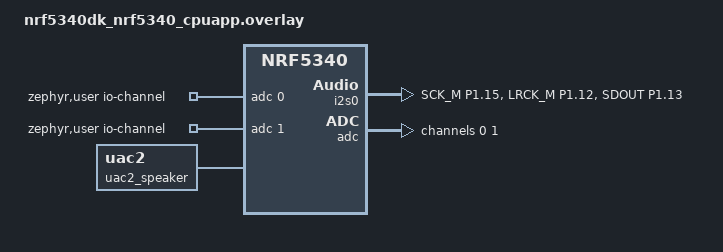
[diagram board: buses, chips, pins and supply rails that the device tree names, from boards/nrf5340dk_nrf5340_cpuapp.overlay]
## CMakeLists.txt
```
cmake_minimum_required(VERSION 3.20.0)
find_package(Zephyr REQUIRED HINTS $ENV{ZEPHYR_BASE})
project(haiku_runner)

target_include_directories(app PRIVATE include)

target_sources(app PRIVATE
  src/main.c
  src/audio/audio_router.c
  src/audio/audio_pipeline_zephyr.c
  src/audio/volume_control.c
  src/input/input_frame_ingress.c
  src/input/input_registry.c
  src/input/source_manager.c
  src/app_state.c
)

if(CONFIG_HR_BACKEND_I2S)
  target_sources(app PRIVATE src/audio/audio_backend_i2s.c)
else()
  target_sources(app PRIVATE src/audio/audio_backend_stub.c)
endif()

if(CONFIG_HR_PIPELINE_SOF)
  target_sources(app PRIVATE src/audio/audio_pipeline_sof_adapter.c)
endif()

if(CONFIG_HR_INPUT_BLE)
  target_sources(app PRIVATE
    src/ble/le_audio_sink.c
    src/ble/le_audio_events.c
    src/ble/le_audio_bap_sink.c
  )
endif()

if(CONFIG_HR_INPUT_AUX)
  target_sources(app PRIVATE src/input/input_aux_jack.c)
endif()

if(CONFIG_HR_INPUT_USB)
  target_sources(app PRIVATE src/input/input_usb_uac.c)
  if(CONFIG_HR_INPUT_USB_UAC2)
    target_sources(app PRIVATE src/input/input_usb_uac2.c)
  endif()
  if(CONFIG_HR_INPUT_USB_MOCK_FEEDER)
    target_sources(app PRIVATE src/input/input_usb_mock_feeder.c)
  endif()
endif()

if(CONFIG_HR_UI_SOURCE_CONTROL)
  target_sources(app PRIVATE src/ui/source_control.c)
endif()

if(CONFIG_HR_UI_AUDIO_CUE)
  target_sources(app PRIVATE src/audio/audio_cue.c)
endif()

if(CONFIG_HR_INPUT_WIFI)
  target_sources(app PRIVATE src/input/input_wifi_stream.c)
endif()
```

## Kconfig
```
source "Kconfig.zephyr"

menu "Haiku Runner"

config HR_SOURCE_MANAGER_MAX_INPUTS
  int "Maximum registered inputs"
  default 8
  range 1 16

rsource "Kconfig.inputs"
rsource "Kconfig.audio"
rsource "Kconfig.ui"

endmenu
```

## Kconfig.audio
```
menu "Audio Output"

config HR_BACKEND_STUB
  bool "Enable stub backend"
  default y

config HR_BACKEND_I2S
  bool "Enable I2S output backend"
  select I2S
  default n
  help
    Drives audio frames from the pipeline out over I2S (e.g. to a MAX98357A).
    Selects the I2S driver, which the backend needs unconditionally: both
    audio_backend_init() and audio_backend_write() talk to the peripheral,
    not just the optional self-test melody below.

if HR_BACKEND_I2S

config HR_BACKEND_I2S_TEST_TONE
  bool "Play a self-test melody on I2S backend start"
  default n
  help
    Writes a short synthesized melody ("Jingle Bells" opening verse) directly
    to the I2S peripheral when the backend starts, independent of any input
    source or pipeline frames. Use this to verify board-to-amp wiring (e.g.
    MAX98357A) before relying on the full audio pipeline.

endif # HR_BACKEND_I2S

config HR_PIPELINE_SOF
  bool "Use SOF pipeline adapter"
  default n

choice HR_DEFAULT_INPUT
  prompt "Default selected input"
  default HR_DEFAULT_INPUT_BLE

config HR_DEFAULT_INPUT_BLE
  bool "BLE"

config HR_DEFAULT_INPUT_AUX
  bool "AUX"

config HR_DEFAULT_INPUT_USB
  bool "USB"

config HR_DEFAULT_INPUT_WIFI
  bool "Wi-Fi"

endchoice

endmenu
```

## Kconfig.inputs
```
menu "Input Sources"

config HR_INPUT_BLE
  bool "Enable BLE input adapter"
  default y
  select BT
  select BT_PERIPHERAL
  select BT_EXT_ADV
  select BT_AUDIO
  select BT_BAP_UNICAST_SERVER
  select BT_ASCS
  select BT_PAC_SNK
  select BT_ISO_PERIPHERAL
  select BT_CAP_ACCEPTOR
  select BT_VCP_VOL_REND
  select BT_TMAP
  select LIBLC3
  select FPU
  help
    Registers the BLE input adapter, backed by a Bluetooth LE Audio (BAP)
    unicast sink: a phone or other LE Audio source connects and streams
    LC3-encoded audio directly to this device, like a standard BLE speaker.
    Pulls in the Bluetooth stack and LC3 codec.

    CAP Acceptor (CAS) and VCP Volume Renderer (VCS) are not optional
    extras here: per the spec, the Unicast Media Receiver role a phone
    looks for is BT_CAP_ACCEPTOR && ASE_SNK > 0 && BT_VCP_VOL_REND (see
    BT_TMAP_UMR_SUPPORTED). Without them a phone connects at GATT level
    but never offers the device as a media output.

config HR_INPUT_AUX
  bool "Enable AUX jack input adapter"
  select ADC
  select ADC_ASYNC
  default n
  help
    Samples a line-level analog signal from a 3.5 mm jack with the SAADC and
    feeds it into the audio pipeline. Requires an external bias/anti-alias
    front-end (audio is AC-coupled and bipolar; the SAADC needs a positive
    voltage centred in its range) - see the wiring guide in
    docs-site/content/test-hardware/aux-jack-wiring.md.

if HR_INPUT_AUX

config HR_INPUT_AUX_SAMPLE_INTERVAL_US
  int "AUX sampling interval (microseconds)"
  default 21
  range 1 128
  help
    Sample rate is 1000000 / interval, so this cannot express every rate.
    21 us gives 47619 Hz, the closest achievable to 48 kHz.

    The I2S output clock is derived from the 12.288 MHz audio clock and can
    only produce 48000/32000/24000/16000/12000/8000 Hz. Of those, only 8000 Hz
    (interval 125) is also exactly representable here, so at any other setting
    the capture and playback clocks differ slightly: 47619 Hz in against
    48000 Hz out is a 0.8% pitch error plus slow buffer drift. Set 125 for a
    drift-free (but 4 kHz bandwidth) path, or add a resampler to fix it
    properly.

    Must stay <= 128 to use the SAADC hardware timer; above that the driver
    falls back to a kernel timer, whose jitter is not acceptable for audio.

config HR_INPUT_AUX_CHANNELS
  int "AUX channels (1 = mono/left, 2 = stereo)"
  default 1
  range 1 2
  help
    Keep this at 1. Zephyr's nRF SAADC driver only uses the hardware sampling
    timer when exactly one channel is active (see the active_channel_cnt == 1
    condition in adc_nrfx_saadc.c); with two channels it falls back to pacing
    samples from a kernel timer, which cannot run at audio intervals and makes
    adc_read() fail outright.

    Mono costs nothing here in practice: the MAX98357A output stage is mono,
    so the second channel would be summed or discarded anyway.

config HR_INPUT_AUX_FRAME_SAMPLES
  int "Samples per channel per delivered frame"
  default 480
  range 32 480
  help
    480 samples at ~48 kHz is a 10 ms frame, matching the block geometry the
    I2S backend uses for the BLE and USB paths. The upper bound is not just
    that alignment: the I2S backend's block size is fixed at 480 samples
    (AUDIO_BLOCK_SAMPLES in audio_backend_i2s.c), and it rejects with
    -ENOTSUP any frame bigger than that, so a value above 480 here would
    compile fine and then silently drop every AUX frame at runtime.

config HR_INPUT_AUX_ADC_RESOLUTION
  int "SAADC resolution (bits)"
  default 12
  range 8 14

config HR_INPUT_AUX_SIGNAL_THRESHOLD
  int "Peak amplitude (16-bit) that counts as signal present"
  default 300
  range 0 32767
  help
    The adapter reports itself unhealthy while the input is silent, so
    source_manager's auto-fallback does not sit on a disconnected jack.
    Raise this if front-end noise keeps it stuck healthy.

config HR_INPUT_AUX_SILENCE_FRAMES
  int "Consecutive silent frames before reporting unhealthy"
  default 200

config HR_INPUT_AUX_STACK_SIZE
  int "AUX sampling thread stack size"
  default 2048
  range 1024 8192

config HR_INPUT_AUX_THREAD_PRIORITY
  int "AUX sampling thread priority"
  default 5

endif # HR_INPUT_AUX

config HR_INPUT_USB
  bool "Enable USB Audio Class input adapter"
  default n

if HR_INPUT_USB

config HR_INPUT_USB_UAC2
  bool "Enumerate as a USB Audio Class 2 device"
  default y
  select USB_DEVICE_STACK_NEXT
  select USBD_AUDIO2_CLASS
  help
    Implements a real USB Audio Class 2 playback device, so a host (a phone
    in USB OTG mode, or a PC) sees the board as a USB sound card and can
    stream to it with no drivers, no app and no pairing. Requires the
    "zephyr,uac2" node in the board overlay and the nRF USB connector (not
    the debug/J-Link one). Disable to use the mock feeder instead.

config HR_INPUT_USB_RING_BUFFER_BYTES
  int "USB PCM ring buffer size (bytes)"
  default 8192
  range 512 65536

config HR_INPUT_USB_FRAME_BYTES
  int "USB poll frame size (bytes)"
  default 240
  range 48 2048

config HR_INPUT_USB_SAMPLE_RATE_HZ
  int "USB PCM sample rate"
  default 48000

config HR_INPUT_USB_CHANNELS
  int "USB PCM channels"
  default 2
  range 1 8

config HR_INPUT_USB_BITS_PER_SAMPLE
  int "USB PCM bits per sample"
  default 16
  range 8 32

config HR_INPUT_USB_MOCK_FEEDER
  bool "Enable mock USB PCM feeder thread"
  default n

if HR_INPUT_USB_MOCK_FEEDER

config HR_INPUT_USB_MOCK_INTERVAL_MS
  int "Mock feeder interval (ms)"
  default 10
  range 1 1000

config HR_INPUT_USB_MOCK_CHUNK_BYTES
  int "Mock feeder bytes per interval"
  default 240
  range 48 2048

config HR_INPUT_USB_MOCK_STACK_SIZE
  int "Mock feeder thread stack size"
  default 1024
  range 512 4096

endif

endif

config HR_INPUT_WIFI
  bool "Enable Wi-Fi streaming input adapter"
  default n

config HR_SWITCH_ALLOW_AUTO_FALLBACK
  bool "Allow auto fallback when active source is unhealthy"
  default y

endmenu
```

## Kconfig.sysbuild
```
# Sysbuild root for haiku-runner. Having this file present makes it the
# sysbuild Kconfig root instead of Zephyr's default, so it must re-source
# the default tree and layer nRF5340 net-core image controls on top.
source "share/sysbuild/Kconfig"

config NET_CORE_BOARD
	string
	default "nrf5340dk/nrf5340/cpunet" if "$(BOARD)" = "nrf5340dk"

config NET_CORE_IMAGE_HCI_IPC
	bool "HCI IPC image on network core"
	default y
	depends on NET_CORE_BOARD != ""
	help
	  Builds Zephyr's hci_ipc sample for the nRF5340 network core, giving
	  the application core's Bluetooth host a controller to talk to over
	  IPC. Required for the BLE Audio (LE Audio unicast sink) input.
```

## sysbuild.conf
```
# Reserved for nRF53 multi-image controls.
# Keep this minimal for upstream Zephyr compatibility.
```

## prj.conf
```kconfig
CONFIG_LOG=y
CONFIG_LOG_DEFAULT_LEVEL=3
CONFIG_MAIN_STACK_SIZE=4096

CONFIG_HEAP_MEM_POOL_SIZE=8192

# BLE Audio (LE Audio unicast sink). Inert unless CONFIG_HR_INPUT_BLE
# selects the Bluetooth options these depend on (see Kconfig.inputs).
CONFIG_BT_DEVICE_NAME="Haiku Runner"
# 0x0841 - Audio Sink / Standalone Speaker, so a phone classifies and shows
# this as a speaker rather than a generic BLE peripheral.
CONFIG_BT_DEVICE_APPEARANCE=2113
CONFIG_BT_SMP=y
CONFIG_BT_KEYS_OVERWRITE_OLDEST=y

# Persistent bonds. Without these, bonds live in RAM only, which breaks the
# pairing lifecycle a phone expects: a reboot silently invalidates the key the
# phone stored, and Android only sets up LE Audio on a properly bonded device.
CONFIG_BT_SETTINGS=y
CONFIG_SETTINGS=y
CONFIG_FLASH=y
CONFIG_FLASH_MAP=y
CONFIG_NVS=y
CONFIG_SETTINGS_NVS=y

# We pair Just Works (no IO capabilities), so bonds are unauthenticated. With
# this disabled (the default), a peer that forgets us and re-pairs is rejected
# because the old bond still exists, which Android surfaces as "incorrect PIN".
CONFIG_BT_SMP_ALLOW_UNAUTH_OVERWRITE=y
CONFIG_BT_GATT_DYNAMIC_DB=y
CONFIG_UTF8=y
CONFIG_BT_GAP_AUTO_UPDATE_CONN_PARAMS=n
CONFIG_BT_PERIPHERAL_PREF_MIN_INT=50
CONFIG_BT_PERIPHERAL_PREF_MAX_INT=70
CONFIG_BT_PERIPHERAL_PREF_LATENCY=0
CONFIG_BT_PERIPHERAL_PREF_TIMEOUT=400
CONFIG_BT_ASCS_MAX_ASE_SNK_COUNT=1
CONFIG_BT_ASCS_MAX_ASE_SRC_COUNT=0
CONFIG_BT_ISO_MAX_CHAN=1
CONFIG_BT_AUDIO_CODEC_CFG_MAX_METADATA_SIZE=10
CONFIG_BT_ATT_PREPARE_COUNT=2

# LC3 decode runs in the BT RX thread; it needs a larger stack and FPU.
CONFIG_BT_RX_STACK_SIZE=4096
CONFIG_BT_BUF_EVT_RX_SIZE=255
CONFIG_BT_BUF_ACL_RX_SIZE=255
CONFIG_BT_BUF_ACL_TX_SIZE=251
CONFIG_BT_BUF_CMD_TX_SIZE=255
```

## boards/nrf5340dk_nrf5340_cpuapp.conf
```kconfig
# Board specific defaults.
```

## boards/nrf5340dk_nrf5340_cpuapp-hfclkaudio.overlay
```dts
/* Only applied when the checked-out Zephyr's devicetree actually defines
 * the hfclkaudio node label (see the detection in ../sysbuild.cmake).
 *
 * That node - and the clock_control_nrf_hfclkaudio driver that reads it -
 * arrived in Zephyr shortly after v4.4.2, which this project pins for CI.
 * A pinned v4.4.2 checkout has no such label, and referencing it there is a
 * devicetree parse error, not just a no-op - so it cannot live in the main
 * overlay unconditionally. But on a newer Zephyr the split clock_control_nrf
 * drivers select CLOCK_CONTROL_NRF_HFCLKAUDIO, which reads this node's
 * hfclkaudio-frequency property instead of the legacy &clock property the
 * main overlay sets, so without this fragment I2S's ACLK clock source
 * BUILD_ASSERT fails there.
 */
&hfclkaudio {
  hfclkaudio-frequency = <12288000>;
};
```

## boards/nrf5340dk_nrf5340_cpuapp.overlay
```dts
#include <zephyr/dt-bindings/adc/adc.h>
#include <zephyr/dt-bindings/adc/nrf-saadc.h>
#include <zephyr/dt-bindings/usb/audio.h>

/ {
  chosen {
    zephyr,console = &uart0;
  };

  aliases {
    i2s-tx = &i2s0;
  };

  /* AUX jack capture channels, in order: left, right.
   * A0 = P0.04 = AIN0, A1 = P0.05 = AIN1 on the nRF5340 DK analog header.
   * Both expect a biased, filtered line-level signal - see
   * docs-site/content/test-hardware/aux-jack-wiring.md. */
  zephyr,user {
    io-channels = <&adc 0>, <&adc 1>;
  };

  /* USB Audio Class 2 playback device: the board enumerates as a USB sound
   * card, so any host (phone in OTG mode, PC) can stream to it with no
   * drivers and no pairing. Speaker only - no capture terminal, since this
   * device has no microphone. Modeled on Zephyr's
   * samples/subsys/usb/uac2_explicit_feedback. */
  uac2_speaker: usb_audio2 {
    compatible = "zephyr,uac2";
    status = "okay";
    full-speed;
    audio-function = <AUDIO_FUNCTION_OTHER>;

    uac_aclk: aclk {
      compatible = "zephyr,uac2-clock-source";
      clock-type = "internal-programmable";
      frequency-control = "host-programmable";
      sampling-frequencies = <48000>;
    };

    usb_stream_in: out_terminal {
      compatible = "zephyr,uac2-input-terminal";
      clock-source = <&uac_aclk>;
      terminal-type = <USB_TERMINAL_STREAMING>;
      front-left;
      front-right;
    };

    speaker_output: speaker {
      compatible = "zephyr,uac2-output-terminal";
      data-source = <&usb_stream_in>;
      clock-source = <&uac_aclk>;
      terminal-type = <OUTPUT_TERMINAL_SPEAKER>;
    };

    as_iso_out: out_interface {
      compatible = "zephyr,uac2-audio-streaming";
      linked-terminal = <&usb_stream_in>;
      subslot-size = <2>;
      bit-resolution = <16>;
    };
  };
};

/* I2S0 wired to a MAX98357A: BCLK=P1.15/D13, LRCLK=P1.12/D10, DIN=P1.13/D11.
 * See docs-site/content/test-hardware/max98357a-wiring.md for the pin table. */
&pinctrl {
  i2s0_default_alt: i2s0_default_alt {
    group1 {
      psels = <NRF_PSEL(I2S_SCK_M, 1, 15)>,
              <NRF_PSEL(I2S_LRCK_M, 1, 12)>,
              <NRF_PSEL(I2S_SDOUT, 1, 13)>;
    };
  };
};

/* 12.288 MHz is the 48 kHz clock family (12288000 / 256 = 48000 exactly).
 * The previous 11.2896 MHz is the 44.1 kHz family and cannot divide down to
 * an exact 48 kHz frame clock, which is the rate both the USB Audio device
 * and the BLE Audio (LC3) path run at. */
&clock {
  hfclkaudio-frequency = <12288000>;
};

&i2s0 {
  status = "okay";
  pinctrl-0 = <&i2s0_default_alt>;
  pinctrl-names = "default";
  clock-source = "ACLK";
};

/* Gain 1/4 with the VDD/4 reference gives a full-scale input span of 0..VDD
 * (3.3 V), so a signal biased to VDD/2 sits mid-scale and can swing either
 * way. Acquisition time is kept short (3 us) because two channels must be
 * scanned within one sampling interval (21 us by default); that requires the
 * front-end to present a low source impedance, which the buffered divider in
 * the wiring guide does. */
&adc {
  #address-cells = <1>;
  #size-cells = <0>;
  status = "okay";

  channel@0 {
    reg = <0>;
    zephyr,gain = "ADC_GAIN_1_4";
    zephyr,reference = "ADC_REF_VDD_1_4";
    zephyr,acquisition-time = <ADC_ACQ_TIME(ADC_ACQ_TIME_MICROSECONDS, 3)>;
    zephyr,input-positive = <NRF_SAADC_AIN0>;
    zephyr,resolution = <12>;
  };

  channel@1 {
    reg = <1>;
    zephyr,gain = "ADC_GAIN_1_4";
    zephyr,reference = "ADC_REF_VDD_1_4";
    zephyr,acquisition-time = <ADC_ACQ_TIME(ADC_ACQ_TIME_MICROSECONDS, 3)>;
    zephyr,input-positive = <NRF_SAADC_AIN1>;
    zephyr,resolution = <12>;
  };
};
```

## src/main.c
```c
#include <zephyr/kernel.h>
#include <zephyr/logging/log.h>

#include "audio_router.h"
#include "input_adapters.h"
#include "source_manager.h"

#if defined(CONFIG_HR_UI_SOURCE_CONTROL)
#include "source_control.h"
#endif

LOG_MODULE_REGISTER(haiku_runner, LOG_LEVEL_INF);

#if defined(CONFIG_HR_DEFAULT_INPUT_AUX)
#define HR_DEFAULT_INPUT AUDIO_INPUT_AUX
#elif defined(CONFIG_HR_DEFAULT_INPUT_USB)
#define HR_DEFAULT_INPUT AUDIO_INPUT_USB
#elif defined(CONFIG_HR_DEFAULT_INPUT_WIFI)
#define HR_DEFAULT_INPUT AUDIO_INPUT_WIFI
#else
#define HR_DEFAULT_INPUT AUDIO_INPUT_BLE
#endif

static struct source_policy g_source_policy = {
  .mode = SOURCE_MODE_HYBRID,
  .manual_selection = HR_DEFAULT_INPUT,
#if defined(CONFIG_HR_SWITCH_ALLOW_AUTO_FALLBACK)
  .allow_auto_fallback = true,
#else
  .allow_auto_fallback = false,
#endif
};

static void register_enabled_inputs(void)
{
#if defined(CONFIG_HR_INPUT_BLE)
  (void)input_adapter_ble_register();
#endif
#if defined(CONFIG_HR_INPUT_AUX)
  (void)input_adapter_aux_register();
#endif
#if defined(CONFIG_HR_INPUT_USB)
  (void)input_adapter_usb_register();
#endif
#if defined(CONFIG_HR_INPUT_WIFI)
  (void)input_adapter_wifi_register();
#endif
}

int main(void)
{
  LOG_INF("haiku-runner boot");

  if (audio_router_init() != 0) {
    LOG_ERR("audio router init failed");
    return -1;
  }

  register_enabled_inputs();

  if (source_manager_init(&g_source_policy) != 0) {
    LOG_ERR("source manager init failed");
    return -1;
  }

  if (audio_router_start() != 0 || source_manager_start() != 0) {
    LOG_ERR("pipeline start failed");
    return -1;
  }

#if defined(CONFIG_HR_UI_SOURCE_CONTROL)
  /* After the adapters are registered, so the button cycles what this build
   * actually contains. */
  if (source_control_init() != 0) {
    LOG_WRN("source control unavailable");
  }
#endif

  while (true) {
    source_manager_tick();

#if defined(CONFIG_HR_UI_SOURCE_CONTROL)
    /* Keeps the LEDs following automatic fallback too, not just presses. */
    source_control_refresh();
#endif

    k_sleep(K_MSEC(200));
  }
}
```

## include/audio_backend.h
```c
#ifndef HAIKU_RUNNER_AUDIO_BACKEND_H_
#define HAIKU_RUNNER_AUDIO_BACKEND_H_

#include "audio_frame.h"

int audio_backend_init(void);
int audio_backend_start(void);
int audio_backend_stop(void);
int audio_backend_write(const struct audio_frame *frame);

#endif
```

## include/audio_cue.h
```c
#ifndef HAIKU_RUNNER_AUDIO_CUE_H_
#define HAIKU_RUNNER_AUDIO_CUE_H_

#include <stdbool.h>

#include "audio_input.h"

/* Plays a short beep pattern identifying a source, straight to the output
 * backend. Deliberately bypasses source_manager: the cue has to be heard
 * whichever input is active, including none.
 *
 * Blocks for the length of the cue (a few hundred ms), so call it from a
 * thread that can sleep - not from an ISR or the system workqueue.
 */
void audio_cue_play_source(enum audio_input_id id);

/* True while a cue is sounding. audio_router drops input frames during that
 * window so the cue is not interleaved with live audio. */
bool audio_cue_active(void);

#endif
```

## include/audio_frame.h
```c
#ifndef HAIKU_RUNNER_AUDIO_FRAME_H_
#define HAIKU_RUNNER_AUDIO_FRAME_H_

#include <stddef.h>
#include <stdint.h>

struct audio_frame {
  const uint8_t *data;
  size_t size;
  uint32_t sample_rate_hz;
  uint8_t channels;
  uint8_t bits_per_sample;
};

#endif
```

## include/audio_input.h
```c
#ifndef HAIKU_RUNNER_AUDIO_INPUT_H_
#define HAIKU_RUNNER_AUDIO_INPUT_H_

#include <stdbool.h>
#include "audio_frame.h"

enum audio_input_id {
  AUDIO_INPUT_BLE,
  AUDIO_INPUT_AUX,
  AUDIO_INPUT_USB,
  AUDIO_INPUT_WIFI,
  AUDIO_INPUT_UNKNOWN,
};

typedef void (*audio_input_frame_callback_t)(enum audio_input_id id, const struct audio_frame *frame);

struct audio_input_ops {
  int (*init)(void);
  int (*start)(void);
  int (*stop)(void);
  int (*poll)(void);
  bool (*healthy)(void);
  int (*set_frame_callback)(audio_input_frame_callback_t callback);
};

struct audio_input_descriptor {
  enum audio_input_id id;
  const char *name;
  const struct audio_input_ops *ops;
};

#endif
```

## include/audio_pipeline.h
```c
#ifndef HAIKU_RUNNER_AUDIO_PIPELINE_H_
#define HAIKU_RUNNER_AUDIO_PIPELINE_H_

#include "audio_frame.h"

int audio_pipeline_init(void);
int audio_pipeline_start(void);
int audio_pipeline_stop(void);
int audio_pipeline_push(const struct audio_frame *frame);

#endif
```

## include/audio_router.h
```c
#ifndef HAIKU_RUNNER_AUDIO_ROUTER_H_
#define HAIKU_RUNNER_AUDIO_ROUTER_H_

#include "audio_frame.h"

int audio_router_init(void);
int audio_router_start(void);
int audio_router_stop(void);
int audio_router_submit(const struct audio_frame *frame);

#endif
```

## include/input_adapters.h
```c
#ifndef HAIKU_RUNNER_INPUT_ADAPTERS_H_
#define HAIKU_RUNNER_INPUT_ADAPTERS_H_

int input_adapter_ble_register(void);
int input_adapter_aux_register(void);
int input_adapter_usb_register(void);
int input_adapter_wifi_register(void);

#endif
```

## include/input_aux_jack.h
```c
#ifndef HAIKU_RUNNER_INPUT_AUX_JACK_H_
#define HAIKU_RUNNER_INPUT_AUX_JACK_H_

#include <stdbool.h>
#include <stddef.h>
#include <stdint.h>

int input_aux_set_plugged(bool plugged);
int input_aux_receive_frame(const uint8_t *data,
                            size_t size,
                            uint32_t sample_rate_hz,
                            uint8_t channels,
                            uint8_t bits_per_sample);

#endif
```

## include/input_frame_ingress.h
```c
#ifndef HAIKU_RUNNER_INPUT_FRAME_INGRESS_H_
#define HAIKU_RUNNER_INPUT_FRAME_INGRESS_H_

#include <stddef.h>
#include <stdint.h>

#include "audio_input.h"

int input_frame_ingress_deliver(audio_input_frame_callback_t callback,
                                bool source_ready,
                                enum audio_input_id id,
                                const uint8_t *data,
                                size_t size,
                                uint32_t sample_rate_hz,
                                uint8_t channels,
                                uint8_t bits_per_sample);

#endif
```

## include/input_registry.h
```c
#ifndef HAIKU_RUNNER_INPUT_REGISTRY_H_
#define HAIKU_RUNNER_INPUT_REGISTRY_H_

#include <stddef.h>
#include "audio_input.h"

int input_registry_register(const struct audio_input_descriptor *descriptor);
const struct audio_input_descriptor *input_registry_get(enum audio_input_id id);
size_t input_registry_count(void);
const struct audio_input_descriptor *input_registry_at(size_t index);

#endif
```

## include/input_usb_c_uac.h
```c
#ifndef HAIKU_RUNNER_INPUT_USB_C_UAC_H_
#define HAIKU_RUNNER_INPUT_USB_C_UAC_H_

#include <stdbool.h>
#include <stddef.h>
#include <stdint.h>

int input_usb_c_set_connected(bool connected);
int input_usb_c_push_pcm_bytes(const uint8_t *data, size_t size);

/* Pops exactly `size` bytes, or returns -EAGAIN if that much isn't buffered
 * yet. Used to re-chunk variable-sized USB frames into a stable frame size. */
int input_usb_c_take_pcm_bytes(uint8_t *data, size_t size);

/* Brings up the USB device stack and the UAC2 audio function. */
int input_usb_c_uac2_init(void);
int input_usb_c_receive_frame(const uint8_t *data,
                              size_t size,
                              uint32_t sample_rate_hz,
                              uint8_t channels,
                              uint8_t bits_per_sample);

#endif
```

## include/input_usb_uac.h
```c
#ifndef HAIKU_RUNNER_INPUT_USB_UAC_H_
#define HAIKU_RUNNER_INPUT_USB_UAC_H_

#include <stdbool.h>
#include <stddef.h>
#include <stdint.h>

int input_usb_set_connected(bool connected);
int input_usb_push_pcm_bytes(const uint8_t *data, size_t size);

/* Pops exactly `size` bytes, or returns -EAGAIN if that much isn't buffered
 * yet. Used to re-chunk variable-sized USB frames into a stable frame size. */
int input_usb_take_pcm_bytes(uint8_t *data, size_t size);

/* Brings up the USB device stack and the UAC2 audio function. */
int input_usb_uac2_init(void);
int input_usb_receive_frame(const uint8_t *data,
                              size_t size,
                              uint32_t sample_rate_hz,
                              uint8_t channels,
                              uint8_t bits_per_sample);

#endif
```
